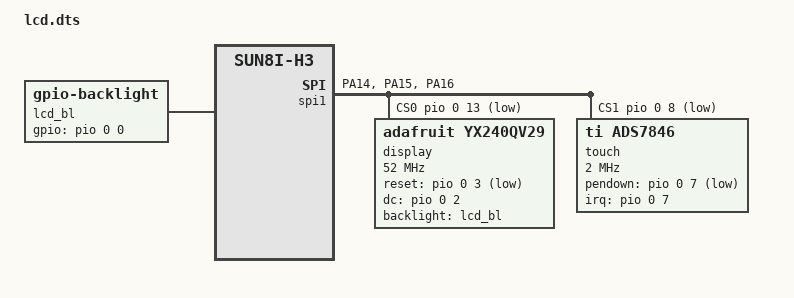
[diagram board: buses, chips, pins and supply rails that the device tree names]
/dts-v1/;
/plugin/;

/ {
    compatible = "allwinner,sun8i-h3";

    /* ======================================== */
    /* 1. 注册硬件背光子系统 (DRM驱动的标准绝配) */
    /* ======================================== */
    fragment@0 {
        target-path = "/";
        __overlay__ {
            lcd_bl: backlight {
                compatible = "gpio-backlight";
                gpios = <&pio 0 0 0>; /* PA0 高电平点亮 */
                default-on;
            };
        };
    };

    /* ======================================== */
    /* 2. 注册 SPI1 的硬件引脚 (PA14, PA15, PA16) */
    /* ======================================== */
    fragment@1 {
        target = <&pio>;
        __overlay__ {
            spi1_pins: spi1_pins {
                pins = "PA14", "PA15", "PA16";
                function = "spi1";
            };
        };
    };

    /* ======================================== */
    /* 3. 屏幕和触摸完美共用 SPI1 总线 */
    /* ======================================== */
    fragment@2 {
        target = <&spi1>;
        __overlay__ {
            status = "okay";
            pinctrl-names = "default";
            pinctrl-0 = <&spi1_pins>;
            
            /* 定义双片选：CS0是屏幕(PA13)，CS1是触摸(PA8)，均为低电平有效 */
            cs-gpios = <&pio 0 13 1>, <&pio 0 8 1>; 
            
            #address-cells = <1>;
            #size-cells = <0>;

            /* --- 现代化的 DRM 屏幕节点 (挂在CS0) --- */
            display@0 {
                /* 【接头暗号】呼叫您刚刚亲手编译的魔改版 DRM 驱动！ */
                compatible = "adafruit,yx240qv29";
                reg = <0>;
                status = "okay";
                
                /* DMA 硬件加速，轻松跑满 32MHz */
                spi-max-frequency = <52000000>;
                
                /* DRM 驱动标准的旋转参数写法 */
                rotation = <270>;
                
                /* 控制引脚 */
                reset-gpios = <&pio 0 3 1>; /* PA3 低电平复位 */
                dc-gpios = <&pio 0 2 0>;    /* PA2 数据/命令 */
                
                /* 绑定顶部的背光子系统 */
                backlight = <&lcd_bl>;
            };

            /* --- 完美防抖的触摸节点 (挂在CS1) --- */
            touch@1 {
                compatible = "ti,ads7846";
                reg = <1>;
                status = "okay";
                
                /* 触摸读取非常脆弱，维持 2MHz 最稳 */
                spi-max-frequency = <2000000>;
                
                interrupt-parent = <&pio>;
                interrupts = <0 7 2>; /* PA7 下降沿中断 */
                pendown-gpio = <&pio 0 7 1>; /* PA7 低电平有效 */
                
                /* Armbian 新内核专属的防抖与校准参数 */
                ti,keep-vref-on;
                ti,vref-delay-usecs = <100>;
                ti,penirq-recheck-delay-usecs = <100>;
                
                ti,x-min = /bits/ 16 <200>;
                ti,x-max = /bits/ 16 <3900>;
                ti,y-min = /bits/ 16 <200>;
                ti,y-max = /bits/ 16 <3900>;
                ti,x-plate-ohms = /bits/ 16 <60>;
                ti,pressure-max = /bits/ 16 <255>;
                ti,swap-xy = <1>;
            };
        };
    };
};
